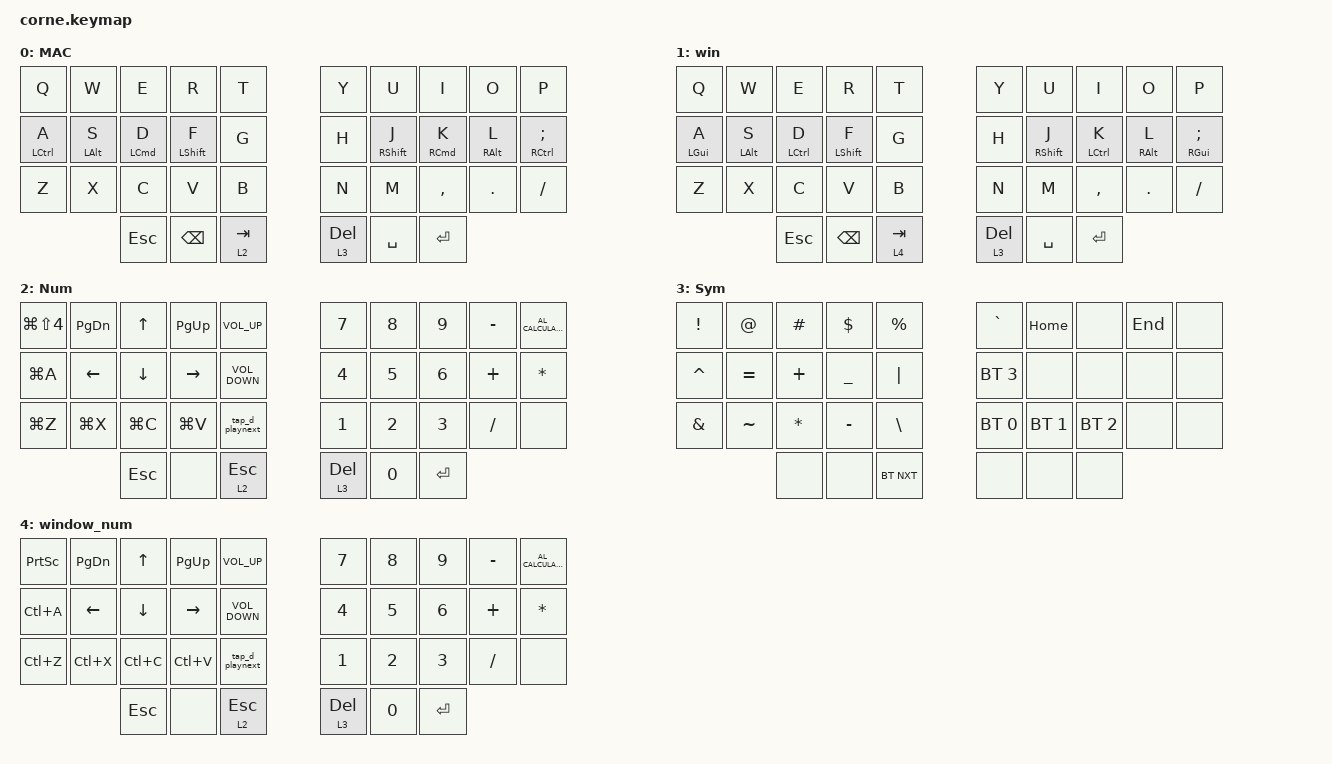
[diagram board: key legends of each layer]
/*
 * Copyright (c) 2020 The ZMK Contributors
 *
 * SPDX-License-Identifier: MIT
 */

#include <behaviors.dtsi>
#include <dt-bindings/zmk/bt.h>
#include <dt-bindings/zmk/keys.h>

// LAYERS

#define DEFAULT 0
#define NUM     1
#define SYM     2
#define FUNC    3

// MACROS

#define SUPER LC(LSHIFT)
#define SUPER2 LA(LC(LSHIFT))

/ {
    chosen { zmk,matrix_transform = &five_column_transform; };

    behaviors {
        home_row: home_row {
            compatible = "zmk,behavior-hold-tap";
            label = "HOME_ROW";
            bindings = <&kp>, <&kp>;

            #binding-cells = <2>;
            tapping-term-ms = <200>;
            flavor = "balanced";
            quick-tap-ms = <125>;
        };

        tap_d_playnext: tap_d_playnext {
            compatible = "zmk,behavior-tap-dance";
            label = "TAP_D_PLAYNEXT";
            #binding-cells = <0>;
            bindings = <&kp C_PLAY_PAUSE>, <&kp C_NEXT>, <&kp C_PREV>;
        };
    };

    combos {
        compatible = "zmk,combos";

        accent {
            bindings = <&kp APOSTROPHE>;
            key-positions = <8 7>;
            timeout-ms = <30>;
        };

        cap_wrd {
            bindings = <&caps_word>;
            key-positions = <16 13>;
            require-prior-idle-ms = <150>;
            timeout-ms = <50>;
        };

        left_bracket {
            bindings = <&kp LEFT_BRACKET>;
            key-positions = <3 2>;
            timeout-ms = <30>;
        };

        right_bracket {
            bindings = <&kp RIGHT_BRACKET>;
            key-positions = <7 6>;
            timeout-ms = <30>;
        };

        L_parenthesis {
            bindings = <&kp LEFT_PARENTHESIS>;
            key-positions = <12 13>;
            timeout-ms = <30>;
        };

        R_Parenthesis {
            bindings = <&kp RIGHT_PARENTHESIS>;
            key-positions = <16 17>;
            timeout-ms = <30>;
        };

        mute_combo {
            bindings = <&kp C_MUTE>;
            key-positions = <4 14>;
        };

        L_Brace {
            bindings = <&kp LEFT_BRACE>;
            key-positions = <23 22>;
            timeout-ms = <30>;
        };

        R_Brace {
            bindings = <&kp RIGHT_BRACE>;
            key-positions = <26 27>;
            require-prior-idle-ms = <0>;
            timeout-ms = <30>;
        };

        bt_clear {
            bindings = <&bt BT_CLR>;
            key-positions = <8 9>;
            layers = <3>;
        };

        caps {
            bindings = <&kp CAPS>;
            key-positions = <3 6>;
        };

        Lay3 {
            bindings = <&tog 1>;
            key-positions = <32 33>;
        };
    };

    keymap {
        compatible = "zmk,keymap";

        MAC {
            label = "MAC";
            bindings = <
  &kp Q              &kp W                 &kp E                     &kp R                   &kp T        &kp Y      &kp U                    &kp I                      &kp O                  &kp P
  &home_row LCTRL A  &home_row LEFT_ALT S  &home_row LEFT_COMMAND D  &home_row LEFT_SHIFT F  &kp G        &kp H      &home_row RIGHT_SHIFT J  &home_row RIGHT_COMMAND K  &home_row RIGHT_ALT L  &home_row RIGHT_CONTROL SEMICOLON
  &kp Z              &kp X                 &kp C                     &kp V                   &kp B        &kp N      &kp M                    &kp COMMA                  &kp DOT                &kp FSLH
                                           &kp ESC                   &kp BSPC                &lt 2 TAB    &lt 3 DEL  &kp SPACE                &kp ENTER
            >;
        };

        win {
            label = "win";
            bindings = <
  &kp Q                 &kp W                 &kp E                     &kp R                   &kp T        &kp Y      &kp U                    &kp I                     &kp O                  &kp P
  &home_row LEFT_GUI A  &home_row LEFT_ALT S  &home_row LEFT_CONTROL D  &home_row LEFT_SHIFT F  &kp G        &kp H      &home_row RIGHT_SHIFT J  &home_row LEFT_CONTROL K  &home_row RIGHT_ALT L  &home_row RIGHT_GUI SEMICOLON
  &kp Z                 &kp X                 &kp C                     &kp V                   &kp B        &kp N      &kp M                    &kp COMMA                 &kp DOT                &kp FSLH
                                              &kp ESC                   &kp BSPC                &lt 4 TAB    &lt 3 DEL  &kp SPACE                &kp ENTER
            >;
        };

        lower_layer {
            bindings = <
  &kp LG(LS(NUMBER_4))  &kp PG_DN  &kp UP     &kp PG_UP  &kp C_VOLUME_UP      &kp N7        &kp N8  &kp N9   &kp MINUS  &kp C_AL_CALCULATOR
  &kp LG(A)             &kp LEFT   &kp DOWN   &kp RIGHT  &kp C_VOLUME_DOWN    &kp N4        &kp N5  &kp N6   &kp PLUS   &kp STAR
  &kp LG(Z)             &kp LG(X)  &kp LG(C)  &kp LG(V)  &tap_d_playnext      &kp N1        &kp N2  &kp N3   &kp FSLH   &none
                                   &kp ESC    &none      &lt 2 ESCAPE         &lt 3 DELETE  &kp N0  &kp RET
            >;

            label = "Num";
        };

        raise_layer {
            bindings = <
  &kp EXCLAMATION  &kp AT_SIGN  &kp HASH      &kp DOLLAR      &kp PERCENT      &kp GRAVE     &kp HOME      &none         &kp END  &none
  &kp CARET        &kp EQUAL    &kp PLUS      &kp UNDERSCORE  &kp PIPE         &bt BT_SEL 3  &none         &none         &none    &none
  &kp AMPERSAND    &kp TILDE    &kp ASTERISK  &kp MINUS       &kp BACKSLASH    &bt BT_SEL 0  &bt BT_SEL 1  &bt BT_SEL 2  &none    &none
                                &none         &none           &bt BT_NXT       &none         &none         &none
            >;

            label = "Sym";
        };

        layer_4 {
            label = "window_num";
            bindings = <
  &kp PRINTSCREEN  &kp PG_DN  &kp UP     &kp PG_UP  &kp C_VOLUME_UP      &kp N7        &kp N8  &kp N9   &kp MINUS  &kp C_AL_CALCULATOR
  &kp LC(A)        &kp LEFT   &kp DOWN   &kp RIGHT  &kp C_VOLUME_DOWN    &kp N4        &kp N5  &kp N6   &kp PLUS   &kp STAR
  &kp LC(Z)        &kp LC(X)  &kp LC(C)  &kp LC(V)  &tap_d_playnext      &kp N1        &kp N2  &kp N3   &kp FSLH   &none
                              &kp ESC    &none      &lt 2 ESCAPE         &lt 3 DELETE  &kp N0  &kp RET
            >;
        };
    };
};
